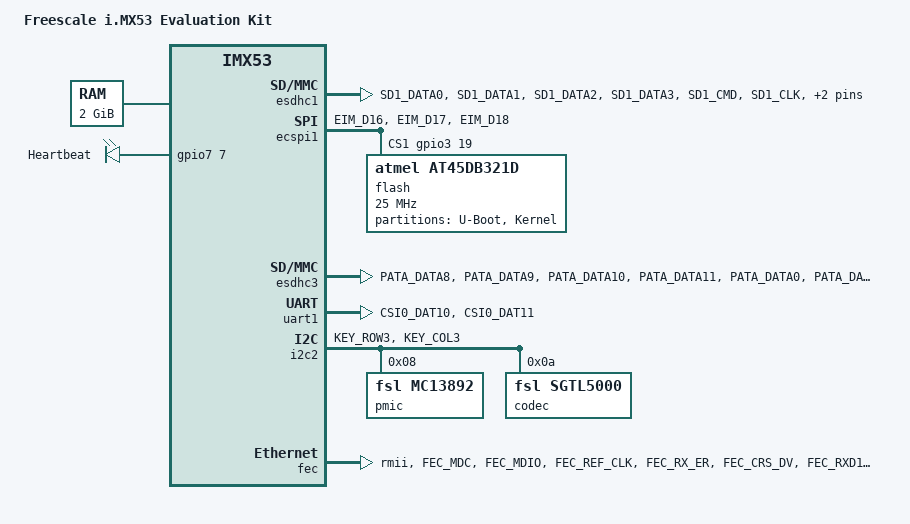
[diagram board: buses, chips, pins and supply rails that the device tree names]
/*
 * Copyright 2011 Freescale Semiconductor, Inc.
 * Copyright 2011 Linaro Ltd.
 *
 * The code contained herein is licensed under the GNU General Public
 * License. You may obtain a copy of the GNU General Public License
 * Version 2 or later at the following locations:
 *
 * http://www.opensource.org/licenses/gpl-license.html
 * http://www.gnu.org/copyleft/gpl.html
 */

/dts-v1/;
#include "imx53.dtsi"

/ {
	model = "Freescale i.MX53 Evaluation Kit";
	compatible = "fsl,imx53-evk", "fsl,imx53";

	memory {
		reg = <0x70000000 0x80000000>;
	};

	leds {
		compatible = "gpio-leds";

		green {
			label = "Heartbeat";
			gpios = <&gpio7 7 0>;
			linux,default-trigger = "heartbeat";
		};
	};
};

&esdhc1 {
	pinctrl-names = "default";
	pinctrl-0 = <&pinctrl_esdhc1>;
	cd-gpios = <&gpio3 13 0>;
	wp-gpios = <&gpio3 14 0>;
	status = "okay";
};

&ecspi1 {
	pinctrl-names = "default";
	pinctrl-0 = <&pinctrl_ecspi1>;
	fsl,spi-num-chipselects = <2>;
	cs-gpios = <&gpio2 30 0>, <&gpio3 19 0>;
	status = "okay";

	flash: at45db321d@1 {
		#address-cells = <1>;
		#size-cells = <1>;
		compatible = "atmel,at45db321d", "atmel,at45", "atmel,dataflash";
		spi-max-frequency = <25000000>;
		reg = <1>;

		partition@0 {
			label = "U-Boot";
			reg = <0x0 0x40000>;
			read-only;
		};

		partition@40000 {
			label = "Kernel";
			reg = <0x40000 0x3c0000>;
		};
	};
};

&esdhc3 {
	pinctrl-names = "default";
	pinctrl-0 = <&pinctrl_esdhc3>;
	cd-gpios = <&gpio3 11 0>;
	wp-gpios = <&gpio3 12 0>;
	status = "okay";
};

&iomuxc {
	pinctrl-names = "default";
	pinctrl-0 = <&pinctrl_hog>;

	imx53-evk {
		pinctrl_hog: hoggrp {
			fsl,pins = <
				MX53_PAD_EIM_EB2__GPIO2_30  0x80000000
				MX53_PAD_EIM_D19__GPIO3_19  0x80000000
				MX53_PAD_EIM_DA11__GPIO3_11 0x80000000
				MX53_PAD_EIM_DA12__GPIO3_12 0x80000000
				MX53_PAD_EIM_DA13__GPIO3_13 0x80000000
				MX53_PAD_EIM_DA14__GPIO3_14 0x80000000
				MX53_PAD_PATA_DA_0__GPIO7_6 0x80000000
				MX53_PAD_PATA_DA_1__GPIO7_7 0x80000000
			>;
		};

		pinctrl_ecspi1: ecspi1grp {
			fsl,pins = <
				MX53_PAD_EIM_D16__ECSPI1_SCLK		0x80000000
				MX53_PAD_EIM_D17__ECSPI1_MISO		0x80000000
				MX53_PAD_EIM_D18__ECSPI1_MOSI		0x80000000
			>;
		};

		pinctrl_esdhc1: esdhc1grp {
			fsl,pins = <
				MX53_PAD_SD1_DATA0__ESDHC1_DAT0		0x1d5
				MX53_PAD_SD1_DATA1__ESDHC1_DAT1		0x1d5
				MX53_PAD_SD1_DATA2__ESDHC1_DAT2		0x1d5
				MX53_PAD_SD1_DATA3__ESDHC1_DAT3		0x1d5
				MX53_PAD_SD1_CMD__ESDHC1_CMD		0x1d5
				MX53_PAD_SD1_CLK__ESDHC1_CLK		0x1d5
			>;
		};

		pinctrl_esdhc3: esdhc3grp {
			fsl,pins = <
				MX53_PAD_PATA_DATA8__ESDHC3_DAT0	0x1d5
				MX53_PAD_PATA_DATA9__ESDHC3_DAT1	0x1d5
				MX53_PAD_PATA_DATA10__ESDHC3_DAT2	0x1d5
				MX53_PAD_PATA_DATA11__ESDHC3_DAT3	0x1d5
				MX53_PAD_PATA_DATA0__ESDHC3_DAT4	0x1d5
				MX53_PAD_PATA_DATA1__ESDHC3_DAT5	0x1d5
				MX53_PAD_PATA_DATA2__ESDHC3_DAT6	0x1d5
				MX53_PAD_PATA_DATA3__ESDHC3_DAT7	0x1d5
				MX53_PAD_PATA_RESET_B__ESDHC3_CMD	0x1d5
				MX53_PAD_PATA_IORDY__ESDHC3_CLK		0x1d5
			>;
		};

		pinctrl_fec: fecgrp {
			fsl,pins = <
				MX53_PAD_FEC_MDC__FEC_MDC		0x80000000
				MX53_PAD_FEC_MDIO__FEC_MDIO		0x80000000
				MX53_PAD_FEC_REF_CLK__FEC_TX_CLK	0x80000000
				MX53_PAD_FEC_RX_ER__FEC_RX_ER		0x80000000
				MX53_PAD_FEC_CRS_DV__FEC_RX_DV		0x80000000
				MX53_PAD_FEC_RXD1__FEC_RDATA_1		0x80000000
				MX53_PAD_FEC_RXD0__FEC_RDATA_0		0x80000000
				MX53_PAD_FEC_TX_EN__FEC_TX_EN		0x80000000
				MX53_PAD_FEC_TXD1__FEC_TDATA_1		0x80000000
				MX53_PAD_FEC_TXD0__FEC_TDATA_0		0x80000000
			>;
		};

		pinctrl_i2c2: i2c2grp {
			fsl,pins = <
				MX53_PAD_KEY_ROW3__I2C2_SDA		0xc0000000
				MX53_PAD_KEY_COL3__I2C2_SCL		0xc0000000
			>;
		};

		pinctrl_uart1: uart1grp {
			fsl,pins = <
				MX53_PAD_CSI0_DAT10__UART1_TXD_MUX	0x1e4
				MX53_PAD_CSI0_DAT11__UART1_RXD_MUX	0x1e4
			>;
		};
	};
};

&uart1 {
	pinctrl-names = "default";
	pinctrl-0 = <&pinctrl_uart1>;
	status = "okay";
};

&i2c2 {
	pinctrl-names = "default";
	pinctrl-0 = <&pinctrl_i2c2>;
	status = "okay";

	pmic: mc13892@08 {
		compatible = "fsl,mc13892", "fsl,mc13xxx";
		reg = <0x08>;
	};

	codec: sgtl5000@0a {
		compatible = "fsl,sgtl5000";
		reg = <0x0a>;
	};
};

&fec {
	pinctrl-names = "default";
	pinctrl-0 = <&pinctrl_fec>;
	phy-mode = "rmii";
	phy-reset-gpios = <&gpio7 6 0>;
	status = "okay";
};
